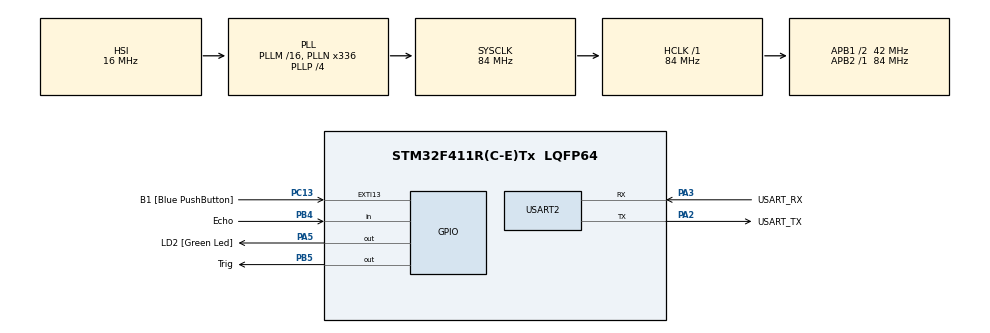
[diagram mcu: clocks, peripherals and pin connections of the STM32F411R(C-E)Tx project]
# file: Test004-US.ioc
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Mcu.Family=STM32F4
Mcu.Name=STM32F411R(C-E)Tx
Mcu.Package=LQFP64
NVIC.PriorityGroup=NVIC_PRIORITYGROUP_0
PA13.GPIO_Label=TMS
PA13.Mode=Serial_Wire
PA13.Signal=SYS_JTMS-SWDIO
PA14.GPIO_Label=TCK
PA14.Mode=Serial_Wire
PA14.Signal=SYS_JTCK-SWCLK
PA2.GPIO_Label=USART_TX
PA2.Mode=Asynchronous
PA2.Signal=USART2_TX
PA3.GPIO_Label=USART_RX
PA3.Mode=Asynchronous
PA3.Signal=USART2_RX
PA5.GPIO_Label=LD2 [Green Led]
PA5.Signal=GPIO_Output
PB3.GPIO_Label=SWO
PB3.Signal=SYS_JTDO-SWO
PB4.GPIO_Label=Echo
PB4.Signal=GPIO_Input
PB5.GPIO_Label=Trig
PB5.Signal=GPIO_Output
PC13-ANTI_TAMP.GPIO_Label=B1 [Blue PushButton]
PC13-ANTI_TAMP.GPIO_ModeDefaultEXTI=GPIO_MODE_IT_FALLING
PC13-ANTI_TAMP.Signal=GPXTI13
PC14-OSC32_IN.Mode=LSE-External-Oscillator
PC14-OSC32_IN.Signal=RCC_OSC32_IN
PC15-OSC32_OUT.Mode=LSE-External-Oscillator
PC15-OSC32_OUT.Signal=RCC_OSC32_OUT
PH0\ -\ OSC_IN.Mode=HSE-External-Clock-Source
PH0\ -\ OSC_IN.Signal=RCC_OSC_IN
PH1\ -\ OSC_OUT.Mode=HSE-External-Clock-Source
PH1\ -\ OSC_OUT.Signal=RCC_OSC_OUT
ProjectManager.HeapSize=0x200
ProjectManager.StackSize=0x400
ProjectManager.TargetToolchain=STM32CubeIDE
RCC.48MHZClocksFreq_Value=84000000
RCC.AHBFreq_Value=84000000
RCC.APB1CLKDivider=RCC_HCLK_DIV2
RCC.APB1Freq_Value=42000000
RCC.APB1TimFreq_Value=84000000
RCC.APB2Freq_Value=84000000
RCC.APB2TimFreq_Value=84000000
RCC.CortexFreq_Value=84000000
RCC.FLatency-AdvancedSettings=FLASH_LATENCY_2
RCC.HCLKFreq_Value=84000000
RCC.HSE_VALUE=8000000
RCC.HSI_VALUE=16000000
RCC.PLLN=336
RCC.PLLP=RCC_PLLP_DIV4
RCC.SYSCLKFreq_VALUE=84000000
RCC.SYSCLKSource=RCC_SYSCLKSOURCE_PLLCLK
RCC.VCOOutputFreq_Value=336000000
TIM5.Prescaler=84-1
USART2.VirtualMode=VM_ASYNC
VP_TIM5_VS_ClockSourceINT.Mode=Internal
board=NUCLEO-F411RE

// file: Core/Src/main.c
/* USER CODE BEGIN Header */
/**
  ******************************************************************************
  * @file           : main.c
  * @brief          : Main program body
  ******************************************************************************
  * @attention
  *
  * Copyright (c) 2024 STMicroelectronics.
  * All rights reserved.
  *
  * This software is licensed under terms that can be found in the LICENSE file
  * in the root directory of this software component.
  * If no LICENSE file comes with this software, it is provided AS-IS.
  *
  ******************************************************************************
  */
/* USER CODE END Header */
#include "main.h"

TIM_HandleTypeDef htim5;

UART_HandleTypeDef huart2;

void SystemClock_Config(void);
static void MX_GPIO_Init(void);
static void MX_USART2_UART_Init(void);
static void MX_TIM5_Init(void);

/* USER CODE BEGIN 0 */
void microDelay(int us)
{
	htim5.Instance->CNT = 0;
	while( (htim5.Instance->CNT) < us );
}
double getDistance()
{
	// Trigger Signal
	  HAL_GPIO_WritePin(Trig_GPIO_Port, Trig_Pin, 1);
	  microDelay(10);	// 10us delay
	  HAL_GPIO_WritePin(Trig_GPIO_Port, Trig_Pin, 0);

	  // Wait until Echo Rising Edge
	  while( (HAL_GPIO_ReadPin(Echo_GPIO_Port, Echo_Pin)) != 1 );
	  int t1 = htim5.Instance->CNT;

	  // Wait until Echo Falling Edge
	  while( (HAL_GPIO_ReadPin(Echo_GPIO_Port, Echo_Pin)) != 0 );
	  int t2 = htim5.Instance->CNT;

	  // Distance = (ECHO high level time X ultrasonic velocity in air 340m/sec) / 2
	  double dist = (t2 - t1) * 0.0170;	// centi meter
	  return dist;
}

/* USER CODE END 0 */

int main(void)
{

  /* MCU Configuration--------------------------------------------------------*/

  /* Reset of all peripherals, Initializes the Flash interface and the Systick. */
  HAL_Init();

  /* Configure the system clock */
  SystemClock_Config();

  /* Initialize all configured peripherals */
  MX_GPIO_Init();
  MX_USART2_UART_Init();
  MX_TIM5_Init();
  /* USER CODE BEGIN 2 */
  ProgramStart("Ultra Sonic");
  HAL_TIM_Base_Start(&htim5);
  /* USER CODE END 2 */

  /* Infinite loop */
  /* USER CODE BEGIN WHILE */
  while (1)
  {

	  printf("\033[10;20H Distance : %.2f cm  \r\n", getDistance());

	  microDelay(100000);	// 100ms delay
    /* USER CODE END WHILE */

  }
}

void SystemClock_Config(void)
{
  RCC_OscInitTypeDef RCC_OscInitStruct = {0};
  RCC_ClkInitTypeDef RCC_ClkInitStruct = {0};

  /** Configure the main internal regulator output voltage
  */
  __HAL_RCC_PWR_CLK_ENABLE();
  __HAL_PWR_VOLTAGESCALING_CONFIG(PWR_REGULATOR_VOLTAGE_SCALE1);

  /** Initializes the RCC Oscillators according to the specified parameters
  * in the RCC_OscInitTypeDef structure.
  */
  RCC_OscInitStruct.OscillatorType = RCC_OSCILLATORTYPE_HSI;
  RCC_OscInitStruct.HSIState = RCC_HSI_ON;
  RCC_OscInitStruct.HSICalibrationValue = RCC_HSICALIBRATION_DEFAULT;
  RCC_OscInitStruct.PLL.PLLState = RCC_PLL_ON;
  RCC_OscInitStruct.PLL.PLLSource = RCC_PLLSOURCE_HSI;
  RCC_OscInitStruct.PLL.PLLM = 16;
  RCC_OscInitStruct.PLL.PLLN = 336;
  RCC_OscInitStruct.PLL.PLLP = RCC_PLLP_DIV4;
  RCC_OscInitStruct.PLL.PLLQ = 4;
  if (HAL_RCC_OscConfig(&RCC_OscInitStruct) != HAL_OK)
  {
    Error_Handler();
  }

  /** Initializes the CPU, AHB and APB buses clocks
  */
  RCC_ClkInitStruct.ClockType = RCC_CLOCKTYPE_HCLK|RCC_CLOCKTYPE_SYSCLK
                              |RCC_CLOCKTYPE_PCLK1|RCC_CLOCKTYPE_PCLK2;
  RCC_ClkInitStruct.SYSCLKSource = RCC_SYSCLKSOURCE_PLLCLK;
  RCC_ClkInitStruct.AHBCLKDivider = RCC_SYSCLK_DIV1;
  RCC_ClkInitStruct.APB1CLKDivider = RCC_HCLK_DIV2;
  RCC_ClkInitStruct.APB2CLKDivider = RCC_HCLK_DIV1;

  if (HAL_RCC_ClockConfig(&RCC_ClkInitStruct, FLASH_LATENCY_2) != HAL_OK)
  {
    Error_Handler();
  }
}

static void MX_TIM5_Init(void)
{

  TIM_ClockConfigTypeDef sClockSourceConfig = {0};
  TIM_MasterConfigTypeDef sMasterConfig = {0};

  htim5.Instance = TIM5;
  htim5.Init.Prescaler = 84-1;
  htim5.Init.CounterMode = TIM_COUNTERMODE_UP;
  htim5.Init.Period = 4294967295;
  htim5.Init.ClockDivision = TIM_CLOCKDIVISION_DIV1;
  htim5.Init.AutoReloadPreload = TIM_AUTORELOAD_PRELOAD_DISABLE;
  if (HAL_TIM_Base_Init(&htim5) != HAL_OK)
  {
    Error_Handler();
  }
  sClockSourceConfig.ClockSource = TIM_CLOCKSOURCE_INTERNAL;
  if (HAL_TIM_ConfigClockSource(&htim5, &sClockSourceConfig) != HAL_OK)
  {
    Error_Handler();
  }
  sMasterConfig.MasterOutputTrigger = TIM_TRGO_RESET;
  sMasterConfig.MasterSlaveMode = TIM_MASTERSLAVEMODE_DISABLE;
  if (HAL_TIMEx_MasterConfigSynchronization(&htim5, &sMasterConfig) != HAL_OK)
  {
    Error_Handler();
  }

}

static void MX_USART2_UART_Init(void)
{

  huart2.Instance = USART2;
  huart2.Init.BaudRate = 115200;
  huart2.Init.WordLength = UART_WORDLENGTH_8B;
  huart2.Init.StopBits = UART_STOPBITS_1;
  huart2.Init.Parity = UART_PARITY_NONE;
  huart2.Init.Mode = UART_MODE_TX_RX;
  huart2.Init.HwFlowCtl = UART_HWCONTROL_NONE;
  huart2.Init.OverSampling = UART_OVERSAMPLING_16;
  if (HAL_UART_Init(&huart2) != HAL_OK)
  {
    Error_Handler();
  }

}

static void MX_GPIO_Init(void)
{
  GPIO_InitTypeDef GPIO_InitStruct = {0};

  /* GPIO Ports Clock Enable */
  __HAL_RCC_GPIOC_CLK_ENABLE();
  __HAL_RCC_GPIOH_CLK_ENABLE();
  __HAL_RCC_GPIOA_CLK_ENABLE();
  __HAL_RCC_GPIOB_CLK_ENABLE();

  /*Configure GPIO pin Output Level */
  HAL_GPIO_WritePin(LD2_GPIO_Port, LD2_Pin, GPIO_PIN_RESET);

  /*Configure GPIO pin Output Level */
  HAL_GPIO_WritePin(Trig_GPIO_Port, Trig_Pin, GPIO_PIN_RESET);

  /*Configure GPIO pin : B1_Pin */
  GPIO_InitStruct.Pin = B1_Pin;
  GPIO_InitStruct.Mode = GPIO_MODE_IT_FALLING;
  GPIO_InitStruct.Pull = GPIO_NOPULL;
  HAL_GPIO_Init(B1_GPIO_Port, &GPIO_InitStruct);

  /*Configure GPIO pin : LD2_Pin */
  GPIO_InitStruct.Pin = LD2_Pin;
  GPIO_InitStruct.Mode = GPIO_MODE_OUTPUT_PP;
  GPIO_InitStruct.Pull = GPIO_NOPULL;
  GPIO_InitStruct.Speed = GPIO_SPEED_FREQ_LOW;
  HAL_GPIO_Init(LD2_GPIO_Port, &GPIO_InitStruct);

  /*Configure GPIO pin : Echo_Pin */
  GPIO_InitStruct.Pin = Echo_Pin;
  GPIO_InitStruct.Mode = GPIO_MODE_INPUT;
  GPIO_InitStruct.Pull = GPIO_NOPULL;
  HAL_GPIO_Init(Echo_GPIO_Port, &GPIO_InitStruct);

  /*Configure GPIO pin : Trig_Pin */
  GPIO_InitStruct.Pin = Trig_Pin;
  GPIO_InitStruct.Mode = GPIO_MODE_OUTPUT_PP;
  GPIO_InitStruct.Pull = GPIO_NOPULL;
  GPIO_InitStruct.Speed = GPIO_SPEED_FREQ_LOW;
  HAL_GPIO_Init(Trig_GPIO_Port, &GPIO_InitStruct);

}

void Error_Handler(void)
{
  __disable_irq();
  while (1)
  {
  }
}
